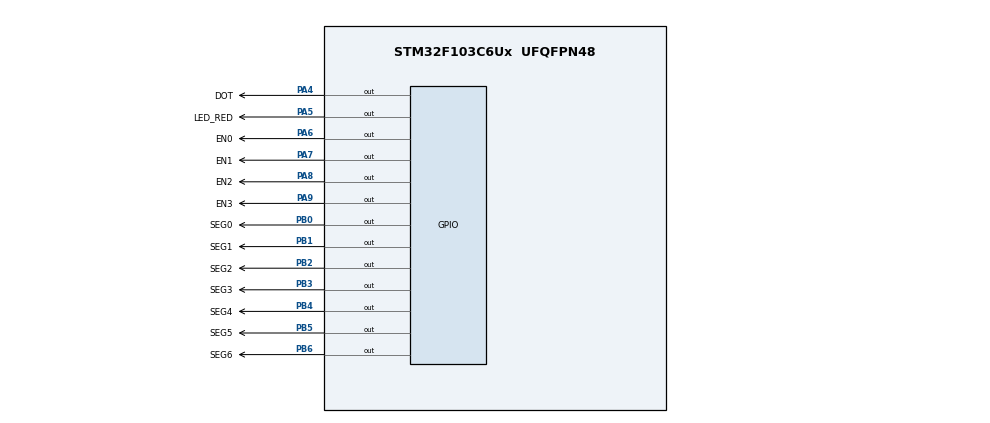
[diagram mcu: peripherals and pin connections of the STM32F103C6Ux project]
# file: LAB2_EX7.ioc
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Mcu.Family=STM32F1
Mcu.Name=STM32F103C6Ux
Mcu.Package=UFQFPN48
NVIC.PriorityGroup=NVIC_PRIORITYGROUP_4
NVIC.TIM2_IRQn=true\:0\:0\:false\:false\:true\:true\:true
PA4.GPIO_Label=DOT
PA4.Signal=GPIO_Output
PA5.GPIO_Label=LED_RED
PA5.Signal=GPIO_Output
PA6.GPIO_Label=EN0
PA6.Signal=GPIO_Output
PA7.GPIO_Label=EN1
PA7.Signal=GPIO_Output
PA8.GPIO_Label=EN2
PA8.Signal=GPIO_Output
PA9.GPIO_Label=EN3
PA9.Signal=GPIO_Output
PB0.GPIO_Label=SEG0
PB0.Signal=GPIO_Output
PB1.GPIO_Label=SEG1
PB1.Signal=GPIO_Output
PB2.GPIO_Label=SEG2
PB2.Signal=GPIO_Output
PB3.GPIO_Label=SEG3
PB3.Signal=GPIO_Output
PB4.GPIO_Label=SEG4
PB4.Signal=GPIO_Output
PB5.GPIO_Label=SEG5
PB5.Signal=GPIO_Output
PB6.GPIO_Label=SEG6
PB6.Signal=GPIO_Output
ProjectManager.HeapSize=0x200
ProjectManager.StackSize=0x400
ProjectManager.TargetToolchain=STM32CubeIDE
RCC.APB1Freq_Value=8000000
RCC.APB2Freq_Value=8000000
TIM2.Period=9
TIM2.Prescaler=7999
VP_SYS_VS_ND.Mode=No_Debug
VP_TIM2_VS_ClockSourceINT.Mode=Internal
board=custom

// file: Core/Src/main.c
/* USER CODE BEGIN Header */
/**
  ******************************************************************************
  * @file           : main.c
  * @brief          : Main program body
  ******************************************************************************
  * @attention
  *
  * <h2><center>&copy; Copyright (c) 2024 STMicroelectronics.
  * All rights reserved.</center></h2>
  *
  * This software component is licensed by ST under BSD 3-Clause license,
  * the "License"; You may not use this file except in compliance with the
  * License. You may obtain a copy of the License at:
  *                        opensource.org/licenses/BSD-3-Clause
  *
  ******************************************************************************
  */
/* USER CODE END Header */
#include "main.h"

/* USER CODE BEGIN Includes */
#include "Ex7.h"
#include "softwareTimer.h"
/* USER CODE END Includes */

TIM_HandleTypeDef htim2;

void SystemClock_Config(void);
static void MX_GPIO_Init(void);
static void MX_TIM2_Init(void);

/* USER CODE BEGIN 0 */
void initState() {
	display7SEG(8);
	HAL_Delay(2000);
	clear7SEG();
	HAL_GPIO_WritePin(GPIOA, GPIO_PIN_All, GPIO_PIN_SET);
	HAL_Delay(1000);
}
/* USER CODE END 0 */

int main(void)
{

  /* MCU Configuration--------------------------------------------------------*/

  /* Reset of all peripherals, Initializes the Flash interface and the Systick. */
  HAL_Init();

  /* Configure the system clock */
  SystemClock_Config();

  /* Initialize all configured peripherals */
  MX_GPIO_Init();
  MX_TIM2_Init();
  /* USER CODE BEGIN 2 */
  initState();
  HAL_TIM_Base_Start_IT (& htim2 );
  /* USER CODE END 2 */

  /* Infinite loop */
  /* USER CODE BEGIN WHILE */
  int hour = 15, minute = 8, second = 50;
  int index_led = 0;
  const int MAX_LED = 4;
  setTimer0(1000);
  while (1)
  {
    /* USER CODE END WHILE */

    /* USER CODE BEGIN 3 */
	 if (timer_flag0 == 1){
		 HAL_GPIO_TogglePin(LED_RED_GPIO_Port, LED_RED_Pin);
		 HAL_GPIO_TogglePin(DOT_GPIO_Port, DOT_Pin);
		 second++;
		 if (second >= 60) {
		 	 second = 0;
		 	 minute++;
		 }
		 if( minute >= 60) {
		 	 minute = 0;
		 	 hour++;
		 }
		 if( hour >=24){
		 	 hour = 0;
		 }
		 updateClockBuffer(hour, minute);
		 setTimer0(1000);
	 }
	 if (timer_flag1 == 1){
		 update7SEG(index_led++);
		 if (!(index_led < MAX_LED)) index_led = 0;
		 setTimer1(1000/MAX_LED);
	 }
  }
  /* USER CODE END 3 */
}

void SystemClock_Config(void)
{
  RCC_OscInitTypeDef RCC_OscInitStruct = {0};
  RCC_ClkInitTypeDef RCC_ClkInitStruct = {0};

  /** Initializes the RCC Oscillators according to the specified parameters
  * in the RCC_OscInitTypeDef structure.
  */
  RCC_OscInitStruct.OscillatorType = RCC_OSCILLATORTYPE_HSI;
  RCC_OscInitStruct.HSIState = RCC_HSI_ON;
  RCC_OscInitStruct.HSICalibrationValue = RCC_HSICALIBRATION_DEFAULT;
  RCC_OscInitStruct.PLL.PLLState = RCC_PLL_NONE;
  if (HAL_RCC_OscConfig(&RCC_OscInitStruct) != HAL_OK)
  {
    Error_Handler();
  }
  /** Initializes the CPU, AHB and APB buses clocks
  */
  RCC_ClkInitStruct.ClockType = RCC_CLOCKTYPE_HCLK|RCC_CLOCKTYPE_SYSCLK
                              |RCC_CLOCKTYPE_PCLK1|RCC_CLOCKTYPE_PCLK2;
  RCC_ClkInitStruct.SYSCLKSource = RCC_SYSCLKSOURCE_HSI;
  RCC_ClkInitStruct.AHBCLKDivider = RCC_SYSCLK_DIV1;
  RCC_ClkInitStruct.APB1CLKDivider = RCC_HCLK_DIV1;
  RCC_ClkInitStruct.APB2CLKDivider = RCC_HCLK_DIV1;

  if (HAL_RCC_ClockConfig(&RCC_ClkInitStruct, FLASH_LATENCY_0) != HAL_OK)
  {
    Error_Handler();
  }
}

static void MX_TIM2_Init(void)
{

  TIM_ClockConfigTypeDef sClockSourceConfig = {0};
  TIM_MasterConfigTypeDef sMasterConfig = {0};

  htim2.Instance = TIM2;
  htim2.Init.Prescaler = 7999;
  htim2.Init.CounterMode = TIM_COUNTERMODE_UP;
  htim2.Init.Period = 9;
  htim2.Init.ClockDivision = TIM_CLOCKDIVISION_DIV1;
  htim2.Init.AutoReloadPreload = TIM_AUTORELOAD_PRELOAD_DISABLE;
  if (HAL_TIM_Base_Init(&htim2) != HAL_OK)
  {
    Error_Handler();
  }
  sClockSourceConfig.ClockSource = TIM_CLOCKSOURCE_INTERNAL;
  if (HAL_TIM_ConfigClockSource(&htim2, &sClockSourceConfig) != HAL_OK)
  {
    Error_Handler();
  }
  sMasterConfig.MasterOutputTrigger = TIM_TRGO_RESET;
  sMasterConfig.MasterSlaveMode = TIM_MASTERSLAVEMODE_DISABLE;
  if (HAL_TIMEx_MasterConfigSynchronization(&htim2, &sMasterConfig) != HAL_OK)
  {
    Error_Handler();
  }

}

static void MX_GPIO_Init(void)
{
  GPIO_InitTypeDef GPIO_InitStruct = {0};

  /* GPIO Ports Clock Enable */
  __HAL_RCC_GPIOA_CLK_ENABLE();
  __HAL_RCC_GPIOB_CLK_ENABLE();

  /*Configure GPIO pin Output Level */
  HAL_GPIO_WritePin(GPIOA, DOT_Pin|LED_RED_Pin|EN0_Pin|EN1_Pin
                          |EN2_Pin|EN3_Pin, GPIO_PIN_RESET);

  /*Configure GPIO pin Output Level */
  HAL_GPIO_WritePin(GPIOB, SEG0_Pin|SEG1_Pin|SEG2_Pin|SEG3_Pin
                          |SEG4_Pin|SEG5_Pin|SEG6_Pin, GPIO_PIN_RESET);

  /*Configure GPIO pins : DOT_Pin LED_RED_Pin EN0_Pin EN1_Pin
                           EN2_Pin EN3_Pin */
  GPIO_InitStruct.Pin = DOT_Pin|LED_RED_Pin|EN0_Pin|EN1_Pin
                          |EN2_Pin|EN3_Pin;
  GPIO_InitStruct.Mode = GPIO_MODE_OUTPUT_PP;
  GPIO_InitStruct.Pull = GPIO_NOPULL;
  GPIO_InitStruct.Speed = GPIO_SPEED_FREQ_LOW;
  HAL_GPIO_Init(GPIOA, &GPIO_InitStruct);

  /*Configure GPIO pins : SEG0_Pin SEG1_Pin SEG2_Pin SEG3_Pin
                           SEG4_Pin SEG5_Pin SEG6_Pin */
  GPIO_InitStruct.Pin = SEG0_Pin|SEG1_Pin|SEG2_Pin|SEG3_Pin
                          |SEG4_Pin|SEG5_Pin|SEG6_Pin;
  GPIO_InitStruct.Mode = GPIO_MODE_OUTPUT_PP;
  GPIO_InitStruct.Pull = GPIO_NOPULL;
  GPIO_InitStruct.Speed = GPIO_SPEED_FREQ_LOW;
  HAL_GPIO_Init(GPIOB, &GPIO_InitStruct);

}

/* USER CODE BEGIN 4 */
void HAL_TIM_PeriodElapsedCallback ( TIM_HandleTypeDef * htim ){
	timer_run();
}
/* USER CODE END 4 */

void Error_Handler(void)
{
  __disable_irq();
  while (1)
  {
  }
}

/************************ (C) COPYRIGHT STMicroelectronics *****END OF FILE****/
